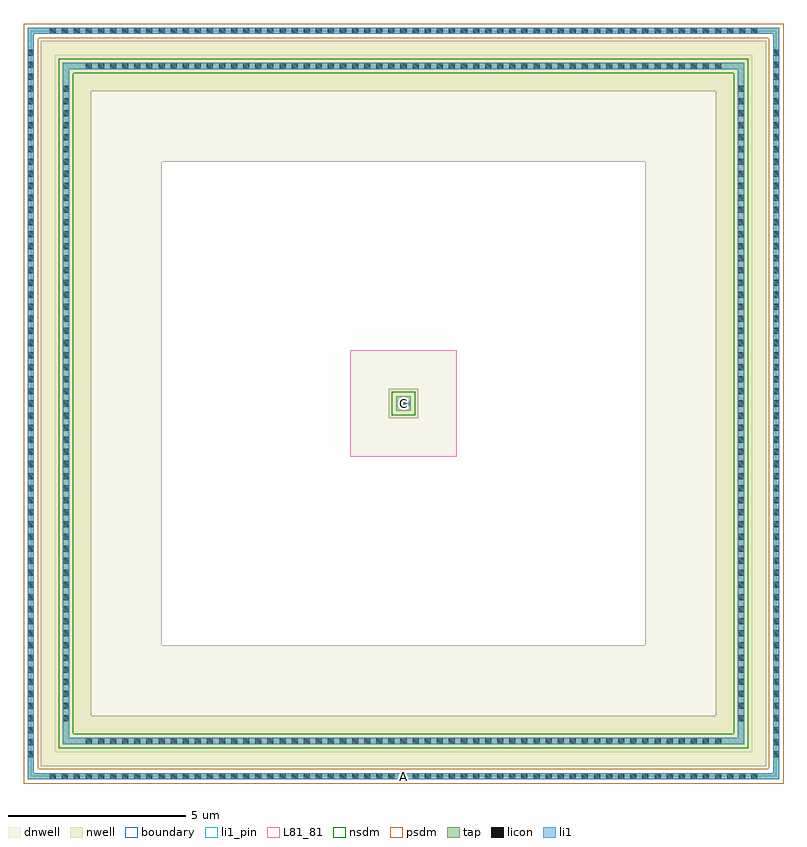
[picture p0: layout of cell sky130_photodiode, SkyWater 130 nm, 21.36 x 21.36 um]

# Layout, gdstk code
import gdstk
lib = gdstk.Library(unit=1e-6, precision=1e-09)
def R(c, l, rs):  # rectangles x0, y0, x1, y1
    for r in rs: c.add(gdstk.rectangle(r[:2], r[2:], *l))
def A(c, l, x, y, w, h, nx, ny, dx, dy):  # array of equal rectangles
    R(c, l, [(x+i*dx, y+j*dy, x+i*dx+w, y+j*dy+h) for i in range(nx) for j in range(ny)])
dnwell = (64, 18)
nwell = (64, 20)
tap = (65, 44)
licon = (66, 44)
li1_pin = (67, 16)
li1 = (67, 20)
L81_81 = (81, 81)
nsdm = (93, 44)
psdm = (94, 20)
boundary = (235, 4)

sky130_photodiode = lib.new_cell('sky130_photodiode')
R(sky130_photodiode, dnwell, [(-2.72,-2.725,16.88,0.275), (-2.72,0.275,0.28,13.875), (13.88,0.275,16.88,13.875), (5.58,5.575,8.58,8.575), (-2.72,13.875,16.88,16.875)])
R(sky130_photodiode, nwell, [(-3.12,-3.125,17.28,-1.695), (-3.12,-1.695,-1.69,15.845), (15.85,-1.695,17.28,15.845), (6.66,6.655,7.5,7.495), (-3.12,15.845,17.28,17.275)])
R(sky130_photodiode, tap, [(-3.475,-3.48,17.635,-3.31), (-3.475,-3.31,-3.305,17.46), (17.465,-3.31,17.635,17.46), (-2.49,-2.495,16.65,-2.325), (-2.49,-2.325,-2.32,16.475), (16.48,-2.325,16.65,16.475), (6.875,6.87,7.285,7.28), (-2.49,16.475,16.65,16.645), (-3.475,17.46,17.635,17.63)])
A(sky130_photodiode, licon, -2.865, -3.48, 0.17, 0.17, 59, 2, 0.34, 20.94)
A(sky130_photodiode, licon, -3.475, -2.87, 0.17, 0.17, 1, 59, 0, 0.34)
A(sky130_photodiode, licon, 17.465, -2.87, 0.17, 0.17, 1, 59, 0, 0.34)
A(sky130_photodiode, licon, -1.845, -2.495, 0.17, 0.17, 53, 2, 0.34, 18.97)
A(sky130_photodiode, licon, -2.49, -1.85, 0.17, 0.17, 1, 26, 0, 0.34)
A(sky130_photodiode, licon, 16.48, -1.85, 0.17, 0.17, 1, 26, 0, 0.34)
A(sky130_photodiode, licon, -2.49, 6.99, 0.17, 0.17, 3, 1, 9.485, 0)
A(sky130_photodiode, licon, -2.49, 7.33, 0.17, 0.17, 1, 26, 0, 0.34)
A(sky130_photodiode, licon, 16.48, 7.33, 0.17, 0.17, 1, 26, 0, 0.34)
R(sky130_photodiode, li1_pin, [(6.995,-3.48,7.165,-3.31), (6.995,6.99,7.165,7.16)])
R(sky130_photodiode, li1, [(-3.475,-3.48,17.635,-3.31), (-3.475,-3.31,-3.305,17.46), (17.465,-3.31,17.635,17.46), (-2.49,-2.495,16.65,-2.325), (-2.49,-2.325,-2.32,16.475), (16.48,-2.325,16.65,16.475), (6.915,6.99,7.245,7.16), (-2.49,16.475,16.65,16.645), (-3.475,17.46,17.635,17.63)])
R(sky130_photodiode, L81_81, [(5.58,5.575,8.58,8.575)])
R(sky130_photodiode, nsdm, [(-2.615,-2.62,16.775,-2.2), (-2.615,-2.2,-2.195,16.35), (16.355,-2.2,16.775,16.35), (6.75,6.745,7.41,7.405), (-2.615,16.35,16.775,16.77)])
R(sky130_photodiode, psdm, [(-3.6,-3.605,17.76,-3.185), (-3.6,-3.185,-3.18,17.335), (17.34,-3.185,17.76,17.335), (-3.6,17.335,17.76,17.755)])
R(sky130_photodiode, boundary, [(-3.39,-3.395,17.55,17.545)])
sky130_photodiode.add(gdstk.Label('C', (7.08,7.075), layer=67, texttype=5))
sky130_photodiode.add(gdstk.Label('A', (7.08,-3.395), layer=67, texttype=5))

lib.write_gds('sky130_photodiode.gds')
